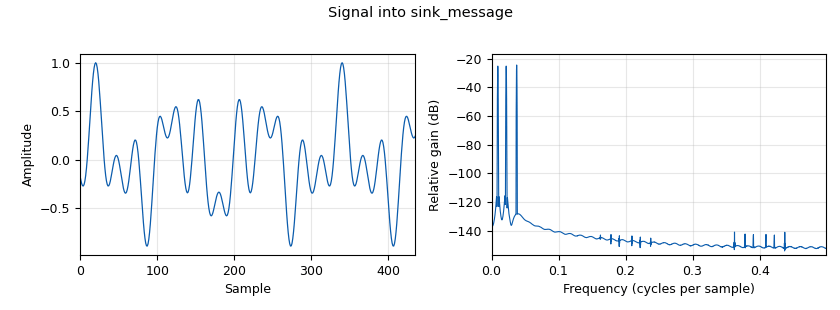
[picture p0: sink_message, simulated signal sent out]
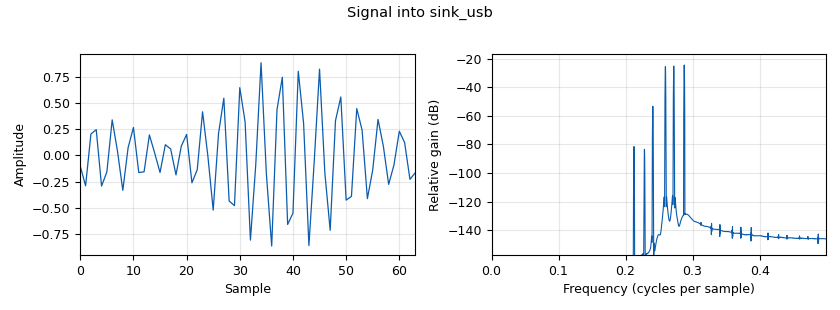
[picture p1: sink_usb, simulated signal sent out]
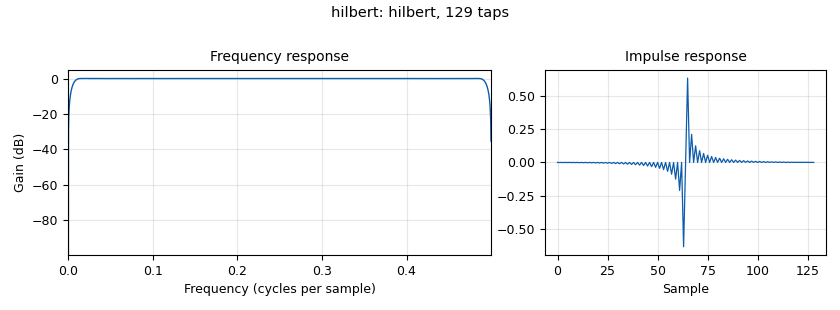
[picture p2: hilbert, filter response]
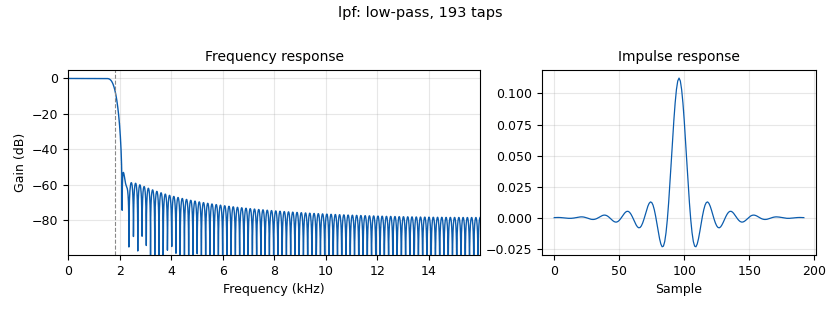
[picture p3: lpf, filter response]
options:
  parameters:
    author: Joel James P
    description: Multitone SSB-SC modulation and coherent demodulation
    generate_options: no_gui
    id: multitone_ssb
    output_language: python
    run_options: run
    title: Multitone SSB-SC
  states: {}

blocks:
- name: samp_rate
  id: variable
  parameters:
    value: '32000'
  states: {}
- name: fc
  id: variable
  parameters:
    value: '8000'
  states: {}
- name: cutoff
  id: variable
  parameters:
    value: '1800'
  states: {}
- name: trans_width
  id: variable
  parameters:
    value: '400'
  states: {}
- name: num_taps
  id: variable
  parameters:
    value: '129'
  states: {}
- name: num_samples
  id: variable
  parameters:
    value: '4000'
  states: {}
- name: tone1
  id: analog_sig_source_x
  parameters:
    amp: '0.333'
    freq: '300'
    offset: '0'
    phase: '0'
    samp_rate: samp_rate
    type: float
    waveform: analog.GR_COS_WAVE
  states: {}
- name: tone2
  id: analog_sig_source_x
  parameters:
    amp: '0.333'
    freq: '700'
    offset: '0'
    phase: '0'
    samp_rate: samp_rate
    type: float
    waveform: analog.GR_COS_WAVE
  states: {}
- name: tone3
  id: analog_sig_source_x
  parameters:
    amp: '0.333'
    freq: '1200'
    offset: '0'
    phase: '0'
    samp_rate: samp_rate
    type: float
    waveform: analog.GR_COS_WAVE
  states: {}
- name: tone_sum
  id: blocks_add_xx
  parameters:
    type: float
    num_inputs: '3'
  states: {}
- name: throttle
  id: blocks_throttle2
  parameters:
    type: float
    samples_per_second: samp_rate
  states: {}
- name: hilbert
  id: hilbert_fc
  parameters:
    num_taps: num_taps
  states: {}
- name: c2f
  id: blocks_complex_to_float
  parameters: {}
  states: {}
- name: carrier_cos
  id: analog_sig_source_x
  parameters:
    amp: '1'
    freq: fc
    offset: '0'
    phase: '0'
    samp_rate: samp_rate
    type: float
    waveform: analog.GR_COS_WAVE
  states: {}
- name: carrier_sin
  id: analog_sig_source_x
  parameters:
    amp: '1'
    freq: fc
    offset: '0'
    phase: '0'
    samp_rate: samp_rate
    type: float
    waveform: analog.GR_SIN_WAVE
  states: {}
- name: mult_re_cos
  id: blocks_multiply_xx
  parameters:
    type: float
  states: {}
- name: mult_im_sin
  id: blocks_multiply_xx
  parameters:
    type: float
  states: {}
- name: usb_sub
  id: blocks_sub_xx
  parameters:
    type: float
  states: {}
- name: lsb_add
  id: blocks_add_xx
  parameters:
    type: float
  states: {}
- name: mult_rx
  id: blocks_multiply_xx
  parameters:
    type: float
  states: {}
- name: lpf
  id: low_pass_filter
  parameters:
    type: fir_filter_fff
    decim: '1'
    gain: '1'
    samp_rate: samp_rate
    cutoff_freq: cutoff
    width: trans_width
    win: window.WIN_HAMMING
  states: {}
- name: gain_x2
  id: blocks_multiply_const_xx
  parameters:
    type: float
    const: '2'
  states: {}
- name: head_message
  id: blocks_head
  parameters:
    type: float
    num_items: num_samples
  states: {}
- name: head_usb
  id: blocks_head
  parameters:
    type: float
    num_items: num_samples
  states: {}
- name: head_lsb
  id: blocks_head
  parameters:
    type: float
    num_items: num_samples
  states: {}
- name: head_recovered
  id: blocks_head
  parameters:
    type: float
    num_items: num_samples
  states: {}
- name: sink_message
  id: blocks_file_sink
  parameters:
    type: float
    unbuffered: 'True'
    file: message.dat
  states: {}
- name: sink_usb
  id: blocks_file_sink
  parameters:
    type: float
    unbuffered: 'True'
    file: usb.dat
  states: {}
- name: sink_lsb
  id: blocks_file_sink
  parameters:
    type: float
    unbuffered: 'True'
    file: lsb.dat
  states: {}
- name: sink_recovered
  id: blocks_file_sink
  parameters:
    type: float
    unbuffered: 'True'
    file: recovered.dat
  states: {}

connections:
- [tone1, '0', tone_sum, '0']
- [tone2, '0', tone_sum, '1']
- [tone3, '0', tone_sum, '2']
- [tone_sum, '0', throttle, '0']
- [throttle, '0', hilbert, '0']
- [hilbert, '0', c2f, '0']
- [c2f, '0', mult_re_cos, '0']
- [carrier_cos, '0', mult_re_cos, '1']
- [c2f, '1', mult_im_sin, '0']
- [carrier_sin, '0', mult_im_sin, '1']
- [mult_re_cos, '0', usb_sub, '0']
- [mult_im_sin, '0', usb_sub, '1']
- [mult_re_cos, '0', lsb_add, '0']
- [mult_im_sin, '0', lsb_add, '1']
- [usb_sub, '0', mult_rx, '0']
- [carrier_cos, '0', mult_rx, '1']
- [mult_rx, '0', lpf, '0']
- [lpf, '0', gain_x2, '0']
- [c2f, '0', head_message, '0']
- [head_message, '0', sink_message, '0']
- [usb_sub, '0', head_usb, '0']
- [head_usb, '0', sink_usb, '0']
- [lsb_add, '0', head_lsb, '0']
- [head_lsb, '0', sink_lsb, '0']
- [gain_x2, '0', head_recovered, '0']
- [head_recovered, '0', sink_recovered, '0']

metadata:
  file_format: 1
  grc_version: 3.10.12.0
